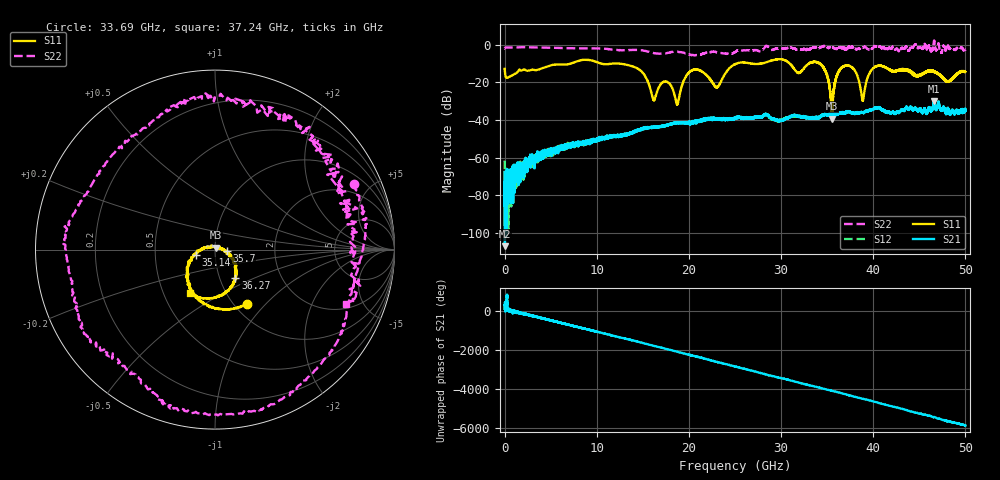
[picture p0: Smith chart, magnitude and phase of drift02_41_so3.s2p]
!Created with skrf (http://scikit-rf.org).
# Hz S RI R 50.0
!freq ReS11 ImS11 ReS21 ImS21 ReS12 ImS12 ReS22 ImS22
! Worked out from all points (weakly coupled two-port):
!   10001 points, 300 kHz to 50 GHz, reference 50 ohm
!   highest |S21| = -30.12 dB at 46.6 GHz (marker M1); lowest = -107.1 dB at 35.3 MHz (marker M2)
!   lowest |S11| = -39.2 dB at 35.53 GHz (marker M3), VSWR 1.02, Z = 50.4 + j1.03 ohm
!   |S11| at or under -10 dB: start of sweep to 7.178 GHz; 12.36 GHz to 25.17 GHz (12.81 GHz wide, 68.3 % of centre); 34.22 GHz to end of sweep (the widest 3 of 18)
!   |S22| runs from -5.7 to 2.3 dB; largest |S21 - S12| = 0.0034
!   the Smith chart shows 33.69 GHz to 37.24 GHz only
!   S11 on the Smith chart (normalised r, x): 33.69 GHz: 1.15, -0.79; 35.14 GHz: 0.81, -0.05; 35.7 GHz: 1.14, -0.02; 36.27 GHz: 1.19, -0.39; 37.24 GHz: 0.68, -0.36
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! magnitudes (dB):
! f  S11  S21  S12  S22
! 300 kHz  -12.8  -67.6  -61.5  -2.1
! 35.3 MHz  -14.5  -107.1  -79.2  -1.7
! 8.335 GHz  -8.2  -52.6  -52.4  -1.9
! 14.03 GHz  -11.8  -46.2  -46.4  -2.8
! 16.15 GHz  -29.3  -43.7  -43.8  -4.4
! 16.67 GHz  -23.3  -43.7  -43.8  -4.7
! 18.74 GHz  -31.8  -41.3  -41.5  -3.7
! 20.24 GHz  -13.9  -41.6  -41.9  -5.4
! 23.03 GHz  -22.7  -39.0  -39.7  -4.1
! 25 GHz  -10.3  -39.3  -39.2  -3.9
! 33.34 GHz  -9.3  -38.6  -38.7  -1.6
! 33.69 GHz  -9.1  -38.8  -38.6  -1.4
! 35.14 GHz  -19.2  -37.4  -37.4  -1.7
! 35.53 GHz  -39.2  -36.8  -36.9  -1.7
! 35.7 GHz  -23.7  -36.9  -36.8  -1.7
! 36.27 GHz  -14.2  -36.3  -36.7  -1.6
! 37.24 GHz  -11.0  -35.6  -35.9  -2.0
! 38.86 GHz  -29.8  -36.2  -36.1  -1.3
! 39.96 GHz  -12.7  -34.2  -34.5  -1.9
! 41.67 GHz  -13.0  -35.5  -35.7  -2.0
! 46.6 GHz  -14.3  -30.1  -30.7  1.9
! 50 GHz  -14.5  -35.1  -34.6  -2.7
